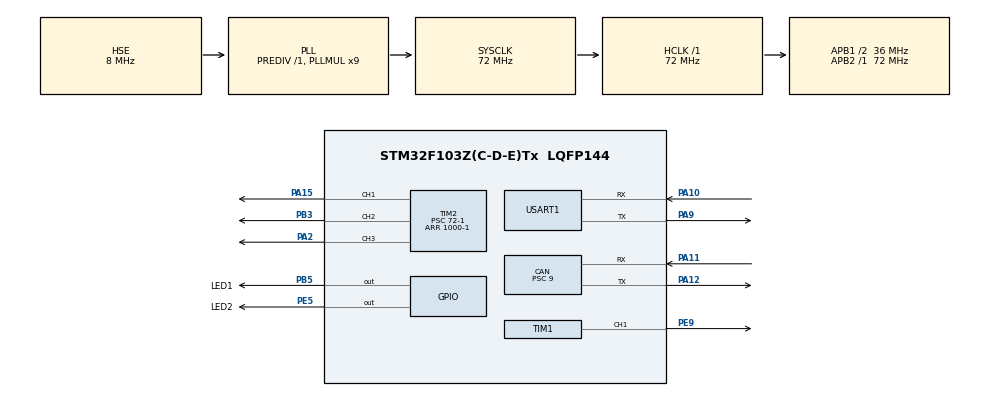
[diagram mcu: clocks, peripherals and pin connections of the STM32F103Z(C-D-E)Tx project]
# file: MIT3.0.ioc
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CAN.BS1=CAN_BS1_16TQ
CAN.BS2=CAN_BS2_3TQ
CAN.CalculateBaudRate=200000
CAN.CalculateTimeBit=5000
CAN.CalculateTimeQuantum=250.0
CAN.Prescaler=9
CAN.SJW=CAN_SJW_1TQ
Mcu.Family=STM32F1
Mcu.Name=STM32F103Z(C-D-E)Tx
Mcu.Package=LQFP144
NVIC.CAN1_RX1_IRQn=true\:0\:0\:false\:false\:true\:true\:true\:true
NVIC.PriorityGroup=NVIC_PRIORITYGROUP_4
NVIC.TIM1_UP_IRQn=true\:1\:0\:true\:false\:true\:true\:true\:true
NVIC.USB_LP_CAN1_RX0_IRQn=true\:0\:0\:true\:false\:true\:true\:true\:true
OSC_IN.Mode=HSE-External-Oscillator
OSC_IN.Signal=RCC_OSC_IN
OSC_OUT.Mode=HSE-External-Oscillator
OSC_OUT.Signal=RCC_OSC_OUT
PA10.Mode=Asynchronous
PA10.Signal=USART1_RX
PA11.Mode=CAN_Activate
PA11.Signal=CAN_RX
PA12.Mode=CAN_Activate
PA12.Signal=CAN_TX
PA13.Mode=Serial_Wire
PA13.Signal=SYS_JTMS-SWDIO
PA14.Mode=Serial_Wire
PA14.Signal=SYS_JTCK-SWCLK
PA15.Signal=S_TIM2_CH1_ETR
PA2.Signal=S_TIM2_CH3
PA9.Mode=Asynchronous
PA9.Signal=USART1_TX
PB3.Signal=S_TIM2_CH2
PB5.GPIO_Label=LED1
PB5.Signal=GPIO_Output
PE5.GPIO_Label=LED2
PE5.Signal=GPIO_Output
PE9.Signal=S_TIM1_CH1
ProjectManager.HeapSize=0x200
ProjectManager.StackSize=0x400
ProjectManager.TargetToolchain=MDK-ARM V5.32
RCC.AHBFreq_Value=72000000
RCC.APB1CLKDivider=RCC_HCLK_DIV2
RCC.APB1Freq_Value=36000000
RCC.APB1TimFreq_Value=72000000
RCC.APB2Freq_Value=72000000
RCC.APB2TimFreq_Value=72000000
RCC.HCLKFreq_Value=72000000
RCC.PLLMUL=RCC_PLL_MUL9
RCC.PLLSourceVirtual=RCC_PLLSOURCE_HSE
RCC.SYSCLKFreq_VALUE=72000000
RCC.SYSCLKSource=RCC_SYSCLKSOURCE_PLLCLK
RCC.USBFreq_Value=72000000
SH.S_TIM1_CH1.0=TIM1_CH1,PWM Generation1 CH1
SH.S_TIM2_CH1_ETR.0=TIM2_CH1,PWM Generation1 CH1
SH.S_TIM2_CH2.0=TIM2_CH2,PWM Generation2 CH2
SH.S_TIM2_CH3.0=TIM2_CH3,PWM Generation3 CH3
TIM1.Channel-PWM\ Generation1\ CH1=TIM_CHANNEL_1
TIM1.Period=1000-1
TIM1.Prescaler=72-1
TIM2.Channel-PWM\ Generation1\ CH1=TIM_CHANNEL_1
TIM2.Channel-PWM\ Generation2\ CH2=TIM_CHANNEL_2
TIM2.Channel-PWM\ Generation3\ CH3=TIM_CHANNEL_3
TIM2.Period=1000-1
TIM2.Prescaler=72-1
USART1.VirtualMode=VM_ASYNC
VP_TIM1_VS_ClockSourceINT.Mode=Internal
VP_TIM2_VS_ClockSourceINT.Mode=Internal
board=custom

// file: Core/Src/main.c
/* USER CODE BEGIN Header */
/**
  ******************************************************************************
  * @file           : main.c
  * @brief          : Main program body
  ******************************************************************************
  * @attention
  *
  * Copyright (c) 2025 STMicroelectronics.
  * All rights reserved.
  *
  * This software is licensed under terms that can be found in the LICENSE file
  * in the root directory of this software component.
  * If no LICENSE file comes with this software, it is provided AS-IS.
  *
  ******************************************************************************
  */
/* USER CODE END Header */
#include "main.h"
#include "can.h"
#include "tim.h"
#include "usart.h"
#include "gpio.h"

/* USER CODE BEGIN Includes */
#include "stm32f1xx_hal.h"
#include "motor_control.h"
#include "can_protocol.h"
#include "system_state.h"
#include <stdio.h>
#include <string.h>

// 全局系统状态
SystemStateMachine g_system = {
    .current_state = SYS_STATE_INIT,
    .enable_timeout = 0,
    .last_heartbeat = 0,
    .last_status_print = 0,
    .motor_enabled = {0, 0, 0}
};

// 重定向printf到串口
int __io_putchar(int ch) {
    HAL_UART_Transmit(&huart1, (uint8_t *)&ch, 1, 10);
    return ch;
}

// 系统初始化
void system_init(void) {
    // 添加调试点1
    HAL_GPIO_WritePin(LED1_GPIO_Port, LED1_Pin, GPIO_PIN_SET);

    printf("==== System Initialization ====\n");

    // 添加调试点2
    HAL_GPIO_WritePin(LED1_GPIO_Port, LED1_Pin, GPIO_PIN_RESET);

    // 初始化电机控制器
    printf("Initializing motor X...\n");
    motor_init(&motor_x, MOTOR_X, 0, 360);

    printf("Initializing motor Y...\n");
    motor_init(&motor_y, MOTOR_Y, -90, 90);

    printf("Initializing motor Z...\n");
    motor_init(&motor_z, MOTOR_Z, -180, 180);

    // 初始状态设置
    g_system.current_state = SYS_STATE_INIT;
    g_system.enable_retry_count = 0;

    // 添加调试点3
    HAL_GPIO_WritePin(LED2_GPIO_Port, LED2_Pin, GPIO_PIN_SET);
    printf("Motors initialized. Starting state machine...\n");
    HAL_GPIO_WritePin(LED2_GPIO_Port, LED2_Pin, GPIO_PIN_RESET);
}
// 系统状态机实现
void system_state_machine(void) {
    uint32_t now = HAL_GetTick();
    static SystemState prev_state = SYS_STATE_INIT;

    // 打印状态变化
    if(g_system.current_state != prev_state) {
        const char *state_names[] = {
            "INIT", "ENABLING_MOTORS", "RUNNING", "EMERGENCY_STOP"
        };
        printf("State changed: %s -> %s\n",
               state_names[prev_state],
               state_names[g_system.current_state]);
        prev_state = g_system.current_state;
    }

    // 每秒打印系统状态
    if(now - g_system.last_status_print > 1000) {
        g_system.last_status_print = now;
        printf("System State: %d, Motors: X:%d Y:%d Z:%d\n",
               g_system.current_state,
               g_system.motor_enabled[0],
               g_system.motor_enabled[1],
               g_system.motor_enabled[2]);
    }

    switch(g_system.current_state) {
        case SYS_STATE_INIT:
            // 进入电机使能状态
            g_system.current_state = SYS_STATE_ENABLING_MOTORS;
            g_system.enable_timeout = now + 3000; // 3秒超时
            g_system.enable_retry_count = 0;
            printf("Enabling motors...\n");
            break;

        case SYS_STATE_ENABLING_MOTORS:
            // 每500ms发送使能命令
            if(now - g_system.last_enable_sent > 500) {
                g_system.last_enable_sent = now;
                g_system.enable_retry_count++;

                printf("Sending enable commands (retry %d)\n", g_system.enable_retry_count);

                // 发送使能命令
                if(!g_system.motor_enabled[0]) send_motor_enable(MOTOR_X, 1);
                if(!g_system.motor_enabled[1]) send_motor_enable(MOTOR_Y, 1);
                if(!g_system.motor_enabled[2]) send_motor_enable(MOTOR_Z, 1);
            }

            // 检查所有电机是否使能
            if(g_system.motor_enabled[0] &&
               g_system.motor_enabled[1] &&
               g_system.motor_enabled[2]) {
                g_system.current_state = SYS_STATE_RUNNING;
                HAL_GPIO_WritePin(LED1_GPIO_Port, LED1_Pin, GPIO_PIN_RESET); // 亮灯
                printf("All motors enabled! Entering RUN state.\n");
            }
            // 检查超时或重试次数
            else if(now > g_system.enable_timeout || g_system.enable_retry_count > 5) {
                if(g_system.enable_retry_count > 5) {
                    printf("ERROR: Motor enable failed after %d retries\n", g_system.enable_retry_count);
                } else {
                    printf("ERROR: Motor enable timeout\n");
                }
                g_system.current_state = SYS_STATE_EMERGENCY_STOP;
            }
            break;

        case SYS_STATE_RUNNING:
            // 每500ms发送心跳包
            if(now - g_system.last_heartbeat > 500) {
                g_system.last_heartbeat = now;
                send_heartbeat();
            }
            break;

        case SYS_STATE_EMERGENCY_STOP:
            // 失能所有电机
            if(g_system.motor_enabled[0] ||
               g_system.motor_enabled[1] ||
               g_system.motor_enabled[2]) {
                printf("Emergency stop! Disabling motors...\n");
                send_motor_enable(MOTOR_X, 0);
                send_motor_enable(MOTOR_Y, 0);
                send_motor_enable(MOTOR_Z, 0);
                memset(g_system.motor_enabled, 0, sizeof(g_system.motor_enabled));
                HAL_GPIO_WritePin(LED1_GPIO_Port, LED1_Pin, GPIO_PIN_SET); // 灭灯
            }
            break;
    }
}

//// 紧急停止按钮处理
//void emergency_button_handler(void) {
//    static uint32_t last_press = 0;
//    uint32_t now = HAL_GetTick();

//    // 防抖处理
//    if(now - last_press > 200) {
//        if(HAL_GPIO_ReadPin(EMERGENCY_BTN_GPIO_Port, EMERGENCY_BTN_Pin) == GPIO_PIN_RESET) {
//            g_system.current_state = SYS_STATE_EMERGENCY_STOP;
//            last_press = now;
//            printf("Emergency button pressed!\n");
//        }
//    }
//}

/* USER CODE END Includes */

void SystemClock_Config(void);

int main(void)
{

  /* MCU Configuration--------------------------------------------------------*/

  /* Reset of all peripherals, Initializes the Flash interface and the Systick. */
  HAL_Init();

  /* Configure the system clock */
  SystemClock_Config();

  /* Initialize all configured peripherals */
  MX_GPIO_Init();
  MX_CAN_Init();
  MX_TIM2_Init();
  MX_USART1_UART_Init();
  MX_TIM1_Init();
  /* USER CODE BEGIN 2 */
//  // 先初始化串口再调用printf
//printf("Starting system initialization...\n");

	// 系统初始化
  system_init();

  // 启动CAN和定时器
  if(HAL_CAN_Start(&hcan) != HAL_OK)
//		{
//    printf("CAN start failed!\n");
//  }

  // 启用CAN接收中断
  HAL_CAN_ActivateNotification(&hcan, CAN_IT_RX_FIFO0_MSG_PENDING);

  // 启动TIM1更新中断（1ms周期）
  if(HAL_TIM_Base_Start_IT(&htim1) != HAL_OK)
//		{
//    printf("TIM1 start failed!\n");
//  }

//  printf("System started successfully!\n");
  /* USER CODE END 2 */

  /* Infinite loop */
  /* USER CODE BEGIN WHILE */
  while (1)
  {
    // 处理状态机
    system_state_machine();

    // 检查紧急停止按钮
    //emergency_button_handler();

    // 低功耗模式
    HAL_Delay(10);
    /* USER CODE END WHILE */

  }
}

void SystemClock_Config(void)
{
  RCC_OscInitTypeDef RCC_OscInitStruct = {0};
  RCC_ClkInitTypeDef RCC_ClkInitStruct = {0};

  /** Initializes the RCC Oscillators according to the specified parameters
  * in the RCC_OscInitTypeDef structure.
  */
  RCC_OscInitStruct.OscillatorType = RCC_OSCILLATORTYPE_HSE;
  RCC_OscInitStruct.HSEState = RCC_HSE_ON;
	RCC_OscInitStruct.HSIState = RCC_HSI_ON;
	RCC_OscInitStruct.HSEPredivValue = RCC_HSE_PREDIV_DIV1;
  RCC_OscInitStruct.HSIState = RCC_HSI_ON;
  RCC_OscInitStruct.PLL.PLLState = RCC_PLL_ON;
  RCC_OscInitStruct.PLL.PLLSource = RCC_PLLSOURCE_HSE;
  RCC_OscInitStruct.PLL.PLLMUL = RCC_PLL_MUL9;
  if (HAL_RCC_OscConfig(&RCC_OscInitStruct) != HAL_OK)
  {
    Error_Handler();
  }

  /** Initializes the CPU, AHB and APB buses clocks
  */
  RCC_ClkInitStruct.ClockType = RCC_CLOCKTYPE_HCLK|RCC_CLOCKTYPE_SYSCLK
                              |RCC_CLOCKTYPE_PCLK1|RCC_CLOCKTYPE_PCLK2;
  RCC_ClkInitStruct.SYSCLKSource = RCC_SYSCLKSOURCE_PLLCLK;
  RCC_ClkInitStruct.AHBCLKDivider = RCC_SYSCLK_DIV1;
  RCC_ClkInitStruct.APB1CLKDivider = RCC_HCLK_DIV2;
  RCC_ClkInitStruct.APB2CLKDivider = RCC_HCLK_DIV1;

  if (HAL_RCC_ClockConfig(&RCC_ClkInitStruct, FLASH_LATENCY_2) != HAL_OK)
  {
    Error_Handler();
  }
}

/* USER CODE BEGIN 4 */

// TIM1中断处理 (1ms周期)
void HAL_TIM_PeriodElapsedCallback(TIM_HandleTypeDef *htim) {
  if(htim->Instance == TIM1) {
    motor_control_update(&motor_x);
    motor_control_update(&motor_y);
    motor_control_update(&motor_z);
  }
}

// CAN接收中断
void HAL_CAN_RxFifo0MsgPendingCallback(CAN_HandleTypeDef *hcan) {
  CAN_RxHeaderTypeDef rx_header;
  uint8_t rx_data[8];

  if(HAL_CAN_GetRxMessage(hcan, CAN_RX_FIFO0, &rx_header, rx_data) == HAL_OK) {
    can_receive_handler(rx_header.StdId, rx_data);
  }
}

// CAN错误回调
void HAL_CAN_ErrorCallback(CAN_HandleTypeDef *hcan) {
  printf("CAN error: 0x%08lX\n", hcan->ErrorCode);
}

/* USER CODE END 4 */

void Error_Handler(void)
{
  /* USER CODE BEGIN Error_Handler_Debug */
  /* User can add his own implementation to report the HAL error return state */
  printf("Fatal error! System halted.\n");
  while (1)
  {
    // 错误指示灯闪烁
    HAL_GPIO_TogglePin(LED1_GPIO_Port, LED1_Pin);
    HAL_Delay(200);
  }
  /* USER CODE END Error_Handler_Debug */
}

#ifdef  USE_FULL_ASSERT
/**
  * @brief  Reports the name of the source file and the source line number
  *         where the assert_param error has occurred.
  * @param  file: pointer to the source file name
  * @param  line: assert_param error line source number
  * @retval None
  */
void assert_failed(uint8_t *file, uint32_t line)
{
  /* USER CODE BEGIN 6 */
  printf("Assert failed: %s, line %lu\n", file, line);
  /* USER CODE END 6 */
}
#endif /* USE_FULL_ASSERT */
